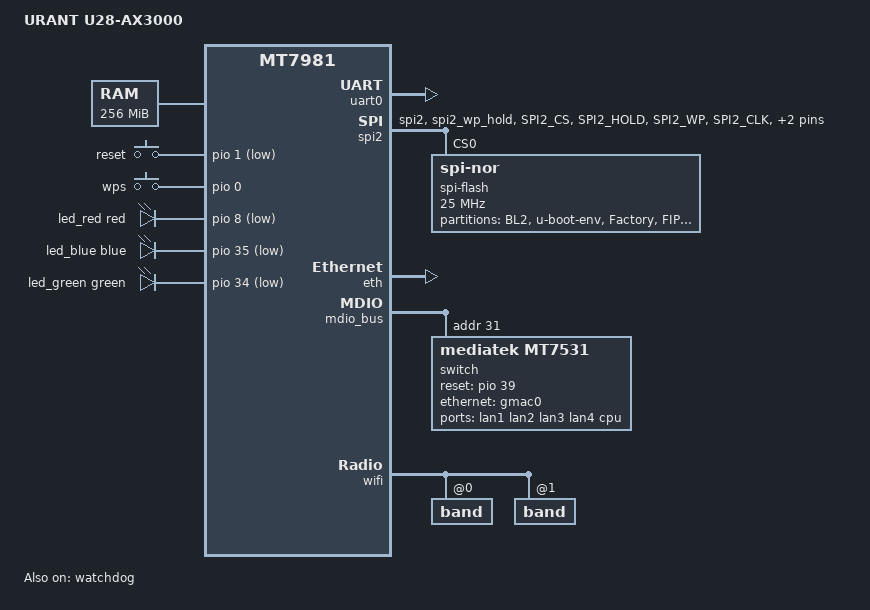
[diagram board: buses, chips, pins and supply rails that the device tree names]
// SPDX-License-Identifier: GPL-2.0-or-later OR MIT

/dts-v1/;
#include "mt7981b.dtsi"
#include <dt-bindings/gpio/gpio.h>
#include <dt-bindings/input/input.h>
#include <dt-bindings/leds/common.h>

/ {
	model = "URANT U28-AX3000";
	compatible = "urant,u28-ax3000", "mediatek,mt7981";

	aliases {
		serial0 = &uart0;
		led-boot = &led_blue;
		led-failsafe = &led_red;
		led-running = &status_rgb;
		led-upgrade = &status_rgb;
	};

	chosen {
		stdout-path = "serial0:115200n8";
		bootargs = "console=ttyS0,115200n8";
		rootdisk = <&firmware>;
	};

	memory@40000000 {
		device_type = "memory";
		reg = <0x0 0x40000000 0x0 0x10000000>; /* 256MB RAM */
	};

	gpio-keys {
		compatible = "gpio-keys";

		key-reset {
			label = "reset";
			gpios = <&pio 1 GPIO_ACTIVE_LOW>;
			linux,code = <KEY_RESTART>;
		};

		key-wps {
			label = "wps";
			gpios = <&pio 0 GPIO_ACTIVE_HIGH>;
			linux,code = <KEY_WPS_BUTTON>;
		};
	};

	gpio-leds {
		compatible = "gpio-leds";

		led_red: led-red {
			color = <LED_COLOR_ID_RED>;
			function = LED_FUNCTION_STATUS;
			gpios = <&pio 8 GPIO_ACTIVE_LOW>;
		};

		led_blue: led-blue {
			color = <LED_COLOR_ID_BLUE>;
			function = LED_FUNCTION_STATUS;
			gpios = <&pio 35 GPIO_ACTIVE_LOW>;
			default-state = "on";
		};

		led_green: led-green {
			color = <LED_COLOR_ID_GREEN>;
			function = LED_FUNCTION_STATUS;
			gpios = <&pio 34 GPIO_ACTIVE_LOW>;
		};
	};

	/*
	 * Single physical RGB status LED, driven by three GPIOs.
	 *
	 * Digital color combinations:
	 *   000 = off
	 *   100 = red
	 *   010 = green
	 *   001 = blue
	 *   110 = yellow
	 *   101 = magenta
	 *   011 = cyan
	 *   111 = white
	 *
	 * GPIO LED channels are binary on/off; arbitrary shades require
	 * PWM-capable LED channels or an external LED controller.
	 */

	status_rgb: multi-led {
		compatible = "leds-group-multicolor";
		color = <LED_COLOR_ID_RGB>;
		function = LED_FUNCTION_STATUS;
		leds = <&led_red>, <&led_green>, <&led_blue>;
	};
};

&uart0 {
	status = "okay";
};

&watchdog {
	status = "okay";
};

&pio {
	/* SPI-NOR is wired to the SPI2 (0x11009000) IPM controller on this board */
	spi2_flash_pins: spi2-pins {
		mux {
			function = "spi";
			groups = "spi2", "spi2_wp_hold";
		};
		conf-pu {
			pins = "SPI2_CS", "SPI2_HOLD", "SPI2_WP";
			drive-strength = <MTK_DRIVE_8mA>;
			bias-pull-up = <MTK_PUPD_SET_R1R0_11>;
		};
		conf-pd {
			pins = "SPI2_CLK", "SPI2_MOSI", "SPI2_MISO";
			drive-strength = <MTK_DRIVE_8mA>;
			bias-pull-down = <MTK_PUPD_SET_R1R0_11>;
		};
	};
};

&spi2 {
	pinctrl-names = "default";
	pinctrl-0 = <&spi2_flash_pins>;
	status = "okay";

	spi-flash@0 {
		compatible = "jedec,spi-nor";
		reg = <0>;
		spi-max-frequency = <25000000>;
		spi-tx-buswidth = <1>;
		spi-rx-buswidth = <1>;

		partitions {
			compatible = "fixed-partitions";
			#address-cells = <1>;
			#size-cells = <1>;

			partition@0 {
				label = "BL2";
				reg = <0x000000 0x040000>;
				read-only;
			};

			partition@40000 {
				label = "u-boot-env";
				reg = <0x040000 0x010000>;
			};

			factory: partition@50000 {
				label = "Factory";
				reg = <0x050000 0x0b0000>;
				read-only;

				nvmem-layout {
					compatible = "fixed-layout";
					#address-cells = <1>;
					#size-cells = <1>;

					eeprom_factory_0: eeprom@0 {
						reg = <0x0 0x1000>;
					};

					macaddr_factory_4: macaddr@4 {
						reg = <0x4 0x6>;
					};

					macaddr_factory_8004: macaddr@8004 {
						reg = <0x8004 0x6>;
					};

					macaddr_factory_e006: macaddr@e006 {
						reg = <0xe006 0x6>;
					};

					macaddr_factory_e000: macaddr@e000 {
						reg = <0xe000 0x6>;
					};
				};
			};

			partition@100000 {
				label = "FIP";
				reg = <0x100000 0x080000>;
				read-only;
			};

			firmware: partition@180000 {
				label = "firmware";
				reg = <0x180000 0xe80000>;
			};
		};
	};
};

&eth {
	status = "okay";

	gmac0: mac@0 {
		compatible = "mediatek,eth-mac";
		reg = <0>;
		nvmem-cells = <&macaddr_factory_e000>;
		nvmem-cell-names = "mac-address";
		phy-mode = "2500base-x";

		fixed-link {
			speed = <2500>;
			full-duplex;
			pause;
		};
	};

	gmac1: mac@1 {
		compatible = "mediatek,eth-mac";
		reg = <1>;
		openwrt,netdev-name = "wan";
		nvmem-cells = <&macaddr_factory_e006>;
		nvmem-cell-names = "mac-address";
		phy-mode = "gmii";
		phy-handle = <&int_gbe_phy>;
	};
};

&mdio_bus {
	switch@1f {
		compatible = "mediatek,mt7531";
		reg = <0x1f>;
		reset-gpios = <&pio 39 GPIO_ACTIVE_HIGH>;

		ports {
			#address-cells = <1>;
			#size-cells = <0>;

			port@0 {
				reg = <0>;
				label = "lan1";
			};

			port@1 {
				reg = <1>;
				label = "lan2";
			};

			port@2 {
				reg = <2>;
				label = "lan3";
			};

			port@3 {
				reg = <3>;
				label = "lan4";
			};

			port@6 {
				reg = <6>;
				label = "cpu";
				ethernet = <&gmac0>;
				phy-mode = "2500base-x";

				fixed-link {
					speed = <2500>;
					full-duplex;
					pause;
				};
			};
		};
	};
};

&wifi {
	#address-cells = <1>;
	#size-cells = <0>;

	nvmem-cells = <&eeprom_factory_0>;
	nvmem-cell-names = "eeprom";
	status = "okay";

	band@0 {
		reg = <0>;
		nvmem-cells = <&macaddr_factory_4>;
		nvmem-cell-names = "mac-address";
	};

	band@1 {
		reg = <1>;
		nvmem-cells = <&macaddr_factory_8004>;
		nvmem-cell-names = "mac-address";
	};
};
